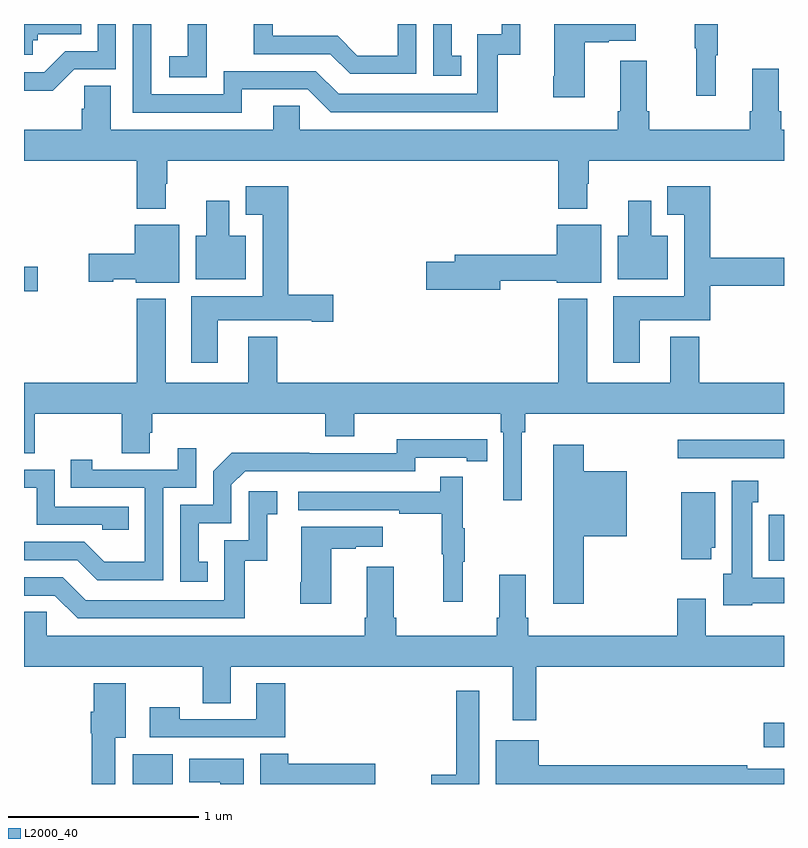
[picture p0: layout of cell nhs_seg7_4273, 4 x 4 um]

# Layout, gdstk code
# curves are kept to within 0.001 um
import gdstk
lib = gdstk.Library(unit=1e-6, precision=1e-09)
def R(c, l, rs):  # rectangles x0, y0, x1, y1
    for r in rs: c.add(gdstk.rectangle(r[:2], r[2:], *l))
def P(c, l, *ps):  # polygons
    for p in ps: c.add(gdstk.Polygon(p, *l))
L2000_40 = (2000, 40)

nhs_seg7_4273 = lib.new_cell('nhs_seg7_4273')
R(nhs_seg7_4273, L2000_40, [(381.572,1000,381.784,1000.156), (384.894,1000.193,385,1000.323), (384.92,1001.174,385,1001.416), (384.441,1001.715,385,1001.812), (381,1002.593,381.073,1002.723)])
P(nhs_seg7_4273, L2000_40, [(382.147,1003.656),(382.494,1003.656),(382.614,1003.536),(383.494,1003.536),(383.494,1003.839),(383.612,1003.839),(383.612,1004),(383.514,1004),(383.514,1003.947),(383.385,1003.947),(383.385,1003.632),(382.656,1003.632),(382.536,1003.752),(382.05,1003.752),(382.05,1003.629),(381.669,1003.629),(381.669,1004),(381.573,1004),(381.573,1003.533),(382.147,1003.533)],
  [(381.264,1003.761),(381.483,1003.761),(381.483,1004),(381.387,1004),(381.387,1003.857),(381.218,1003.857),(381.107,1003.746),(381,1003.746),(381,1003.649),(381.151,1003.649)],
  [(381.045,1003.914),(381.072,1003.914),(381.072,1003.946),(381.302,1003.946),(381.302,1004),(381,1004),(381,1003.838),(381.045,1003.838)],
  [(383.3,1003.833),(383.251,1003.833),(383.251,1004),(383.154,1004),(383.154,1003.728),(383.3,1003.728)],
  [(381.963,1003.927),(381.962,1003.927),(381.962,1004),(381.863,1004),(381.863,1003.831),(381.765,1003.831),(381.765,1003.721),(381.963,1003.721)],
  [(383.95,1003.903),(384.077,1003.903),(384.077,1003.913),(384.22,1003.913),(384.22,1004),(383.792,1004),(383.792,1003.726),(383.785,1003.726),(383.785,1003.614),(383.95,1003.614)],
  [(383.064,1004),(382.968,1004),(382.968,1003.834),(382.754,1003.834),(382.65,1003.938),(382.308,1003.938),(382.308,1004),(382.21,1004),(382.21,1003.842),(382.613,1003.842),(382.718,1003.737),(383.064,1003.737)],
  [(384.641,1003.835),(384.652,1003.835),(384.652,1004),(384.531,1004),(384.531,1003.872),(384.538,1003.872),(384.538,1003.623),(384.641,1003.623)],
  [(381.745,1003.16),(381.753,1003.16),(381.753,1003.28),(383.813,1003.28),(383.813,1003.028),(383.965,1003.028),(383.965,1003.16),(383.973,1003.16),(383.973,1003.28),(385,1003.28),(385,1003.444),(384.986,1003.444),(384.986,1003.54),(384.973,1003.54),(384.973,1003.765),(384.833,1003.765),(384.833,1003.54),(384.821,1003.54),(384.821,1003.444),(384.29,1003.444),(384.29,1003.54),(384.277,1003.54),(384.277,1003.807),(384.137,1003.807),(384.137,1003.54),(384.125,1003.54),(384.125,1003.444),(382.452,1003.444),(382.452,1003.571),(382.313,1003.571),(382.313,1003.444),(381.457,1003.444),(381.457,1003.676),(381.318,1003.676),(381.318,1003.553),(381.305,1003.553),(381.305,1003.444),(381,1003.444),(381,1003.28),(381.593,1003.28),(381.593,1003.028),(381.745,1003.028)],
  [(382.021,1002.44),(382.514,1002.44),(382.514,1002.433),(382.627,1002.433),(382.627,1002.575),(382.391,1002.575),(382.391,1003.147),(382.166,1003.147),(382.166,1002.995),(382.256,1002.995),(382.256,1002.568),(381.881,1002.568),(381.881,1002.216),(382.021,1002.216)],
  [(384.241,1002.44),(384.611,1002.44),(384.611,1002.623),(385,1002.623),(385,1002.77),(384.611,1002.77),(384.611,1003.147),(384.386,1003.147),(384.386,1002.995),(384.476,1002.995),(384.476,1002.568),(384.101,1002.568),(384.101,1002.216),(384.241,1002.216)],
  [(384.388,1002.886),(384.301,1002.886),(384.301,1003.069),(384.179,1003.069),(384.179,1002.886),(384.125,1002.886),(384.125,1002.656),(384.388,1002.656)],
  [(382.168,1002.886),(382.081,1002.886),(382.081,1003.069),(381.959,1003.069),(381.959,1002.886),(381.905,1002.886),(381.905,1002.656),(382.168,1002.656)],
  [(383.506,1002.649),(383.804,1002.649),(383.804,1002.638),(384.037,1002.638),(384.037,1002.943),(383.804,1002.943),(383.804,1002.785),(383.267,1002.785),(383.267,1002.749),(383.118,1002.749),(383.118,1002.602),(383.506,1002.602)],
  [(381.817,1002.943),(381.584,1002.943),(381.584,1002.791),(381.342,1002.791),(381.342,1002.644),(381.471,1002.644),(381.471,1002.656),(381.588,1002.656),(381.588,1002.638),(381.817,1002.638)],
  [(383.62,1001.852),(383.639,1001.852),(383.639,1001.948),(385,1001.948),(385,1002.112),(384.554,1002.112),(384.554,1002.355),(384.401,1002.355),(384.401,1002.112),(383.965,1002.112),(383.965,1002.553),(383.813,1002.553),(383.813,1002.112),(382.334,1002.112),(382.334,1002.355),(382.181,1002.355),(382.181,1002.112),(381.745,1002.112),(381.745,1002.553),(381.593,1002.553),(381.593,1002.112),(381,1002.112),(381,1001.74),(381.057,1001.74),(381.057,1001.948),(381.514,1001.948),(381.514,1001.74),(381.661,1001.74),(381.661,1001.85),(381.674,1001.85),(381.674,1001.948),(382.586,1001.948),(382.586,1001.831),(382.738,1001.831),(382.738,1001.948),(383.51,1001.948),(383.51,1001.852),(383.523,1001.852),(383.523,1001.493),(383.62,1001.493)],
  [(381.968,1001.169),(381.919,1001.169),(381.919,1001.373),(382.092,1001.373),(382.092,1001.574),(382.164,1001.646),(383.058,1001.646),(383.058,1001.718),(383.33,1001.718),(383.33,1001.698),(383.438,1001.698),(383.438,1001.814),(382.962,1001.815),(382.962,1001.742),(382.502,1001.742),(382.502,1001.744),(382.094,1001.744),(381.996,1001.646),(381.996,1001.469),(381.822,1001.469),(381.822,1001.064),(381.968,1001.064)],
  [(383.945,1001.303),(384.172,1001.303),(384.172,1001.647),(383.945,1001.647),(383.945,1001.785),(383.786,1001.785),(383.786,1000.95),(383.945,1000.95)],
  [(381.732,1001.559),(381.906,1001.559),(381.906,1001.767),(381.809,1001.767),(381.809,1001.655),(381.358,1001.655),(381.358,1001.707),(381.247,1001.707),(381.247,1001.559),(381.636,1001.559),(381.636,1001.17),(381.422,1001.17),(381.318,1001.274),(381,1001.274),(381,1001.178),(381.281,1001.178),(381.386,1001.073),(381.732,1001.073)],
  [(381.551,1001.46),(381.162,1001.46),(381.162,1001.655),(381,1001.655),(381,1001.559),(381.066,1001.559),(381.066,1001.364),(381.411,1001.364),(381.411,1001.337),(381.551,1001.337)],
  [(383.309,1001.171),(383.32,1001.171),(383.32,1001.345),(383.309,1001.345),(383.309,1001.617),(383.191,1001.617),(383.191,1001.538),(382.443,1001.538),(382.443,1001.442),(382.975,1001.442),(382.975,1001.422),(383.199,1001.422),(383.199,1001.208),(383.206,1001.208),(383.206,1000.959),(383.309,1000.959)],
  [(384.834,1000.952),(385,1000.952),(385,1001.086),(384.832,1001.086),(384.832,1001.483),(384.865,1001.483),(384.865,1001.596),(384.725,1001.596),(384.725,1001.106),(384.68,1001.106),(384.68,1000.94),(384.834,1000.94)],
  [(382.162,1001.175),(382.28,1001.175),(382.28,1001.421),(382.333,1001.421),(382.333,1001.542),(382.182,1001.542),(382.182,1001.283),(382.053,1001.283),(382.053,1000.968),(381.324,1000.968),(381.204,1001.088),(381,1001.088),(381,1000.992),(381.162,1000.992),(381.282,1000.872),(382.162,1000.872)],
  [(384.616,1001.244),(384.637,1001.244),(384.637,1001.536),(384.458,1001.536),(384.458,1001.184),(384.616,1001.184)],
  [(382.618,1001.239),(382.745,1001.239),(382.745,1001.249),(382.888,1001.249),(382.888,1001.353),(382.46,1001.353),(382.46,1001.062),(382.453,1001.062),(382.453,1000.95),(382.618,1000.95)],
  [(383.695,1000.616),(385,1000.616),(385,1000.78),(384.589,1000.78),(384.589,1000.975),(384.437,1000.975),(384.437,1000.78),(383.654,1000.78),(383.654,1000.876),(383.641,1000.876),(383.641,1001.101),(383.501,1001.101),(383.501,1000.876),(383.489,1000.876),(383.489,1000.78),(382.958,1000.78),(382.958,1000.876),(382.945,1000.876),(382.945,1001.143),(382.805,1001.143),(382.805,1000.876),(382.793,1000.876),(382.793,1000.78),(381.12,1000.78),(381.12,1000.907),(381,1000.907),(381,1000.616),(381.94,1000.616),(381.94,1000.426),(382.087,1000.426),(382.087,1000.616),(383.573,1000.616),(383.573,1000.335),(383.695,1000.335)],
  [(381.481,1000.244),(381.535,1000.244),(381.535,1000.531),(381.368,1000.531),(381.368,1000.38),(381.35,1000.38),(381.35,1000.266),(381.356,1000.266),(381.356,1000),(381.481,1000)],
  [(382.376,1000.531),(382.223,1000.531),(382.223,1000.341),(381.819,1000.341),(381.819,1000.405),(381.663,1000.405),(381.663,1000.245),(382.376,1000.245)],
  [(383.395,1000.492),(383.274,1000.492),(383.274,1000.048),(383.144,1000.048),(383.144,1000),(383.395,1000)],
  [(385,1000.08),(384.806,1000.08),(384.806,1000.1),(383.71,1000.1),(383.71,1000.231),(383.483,1000.231),(383.483,1000),(385,1000)],
  [(382.849,1000.106),(382.391,1000.106),(382.391,1000.16),(382.244,1000.16),(382.244,1000),(382.849,1000)],
  [(382.156,1000.132),(381.869,1000.132),(381.869,1000.01),(382.034,1000.01),(382.034,1000),(382.156,1000)])

lib.write_gds('nhs_seg7_4273.gds')
